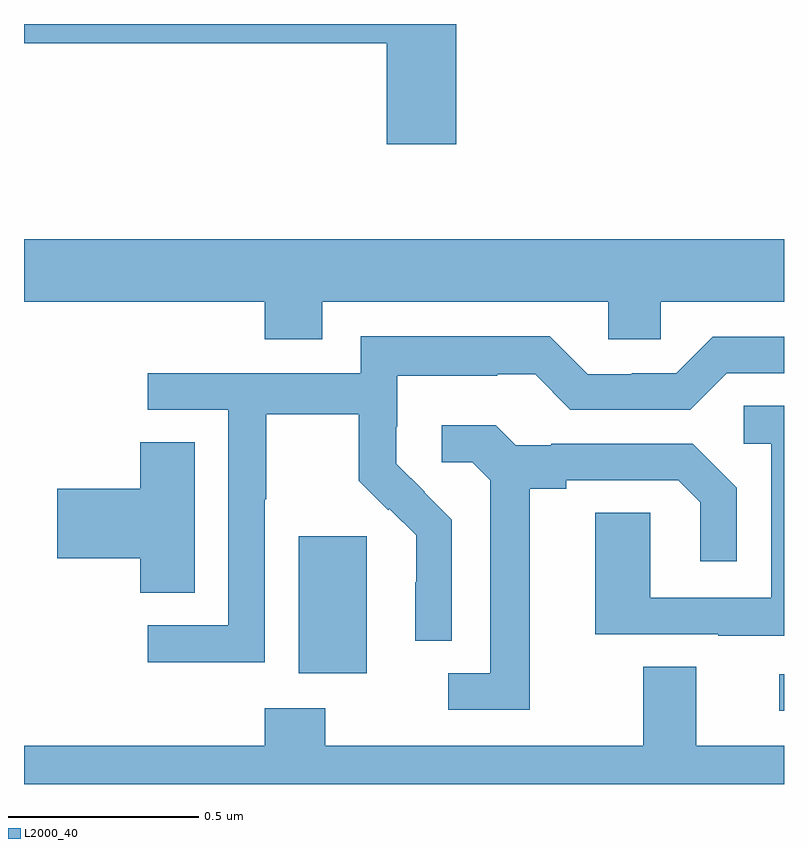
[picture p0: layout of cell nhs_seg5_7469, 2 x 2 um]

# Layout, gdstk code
import gdstk
lib = gdstk.Library(unit=1e-6, precision=1e-09)
def R(c, l, rs):  # rectangles x0, y0, x1, y1
    for r in rs: c.add(gdstk.rectangle(r[:2], r[2:], *l))
def P(c, l, *ps):  # polygons
    for p in ps: c.add(gdstk.Polygon(p, *l))
L2000_40 = (2000, 40)

nhs_seg5_7469 = lib.new_cell('nhs_seg5_7469')
R(nhs_seg5_7469, L2000_40, [(210.987,880.992,211,881.088), (209.723,881.09,209.902,881.451)])
P(nhs_seg5_7469, L2000_40, [(210.137,882.799),(209,882.799),(209,882.748),(209.954,882.748),(209.954,882.483),(210.137,882.483)],
  [(209.785,882.068),(210.537,882.068),(210.537,881.97),(210.675,881.97),(210.675,882.068),(211,882.068),(211,882.232),(209,882.232),(209,882.068),(209.633,882.068),(209.633,881.969),(209.785,881.969)],
  [(209.634,881.548),(209.637,881.548),(209.637,881.772),(209.881,881.772),(209.881,881.597),(209.958,881.52),(209.961,881.523),(210.032,881.453),(210.032,881.33),(210.03,881.33),(210.03,881.176),(210.126,881.176),(210.126,881.494),(210.053,881.567),(210.054,881.568),(209.98,881.642),(209.98,881.739),(209.982,881.739),(209.982,881.873),(210.245,881.873),(210.245,881.877),(210.345,881.877),(210.438,881.784),(210.753,881.784),(210.849,881.88),(211,881.88),(211,881.976),(210.813,881.976),(210.717,881.88),(210.599,881.88),(210.599,881.877),(210.483,881.877),(210.383,881.977),(209.886,881.977),(209.886,881.88),(209.325,881.88),(209.325,881.784),(209.538,881.784),(209.538,881.217),(209.325,881.217),(209.325,881.119),(209.634,881.119)],
  [(211,881.795),(210.894,881.795),(210.894,881.694),(210.966,881.694),(210.966,881.289),(210.648,881.289),(210.648,881.513),(210.503,881.513),(210.503,881.193),(210.827,881.193),(210.827,881.189),(211,881.189)],
  [(210.331,881.576),(210.427,881.576),(210.427,881.598),(210.722,881.598),(210.779,881.541),(210.779,881.385),(210.876,881.385),(210.876,881.578),(210.76,881.694),(210.388,881.694),(210.388,881.691),(210.294,881.691),(210.242,881.743),(210.099,881.743),(210.099,881.646),(210.18,881.646),(210.227,881.599),(210.227,881.091),(210.117,881.091),(210.117,880.995),(210.331,880.995)],
  [(209.449,881.699),(209.306,881.699),(209.306,881.576),(209.088,881.576),(209.088,881.393),(209.306,881.393),(209.306,881.302),(209.449,881.302)],
  [(211,880.9),(210.769,880.9),(210.769,881.108),(210.629,881.108),(210.629,880.9),(209.793,880.9),(209.793,880.999),(209.633,880.999),(209.633,880.9),(209,880.9),(209,880.799),(211,880.799)])

lib.write_gds('nhs_seg5_7469.gds')
